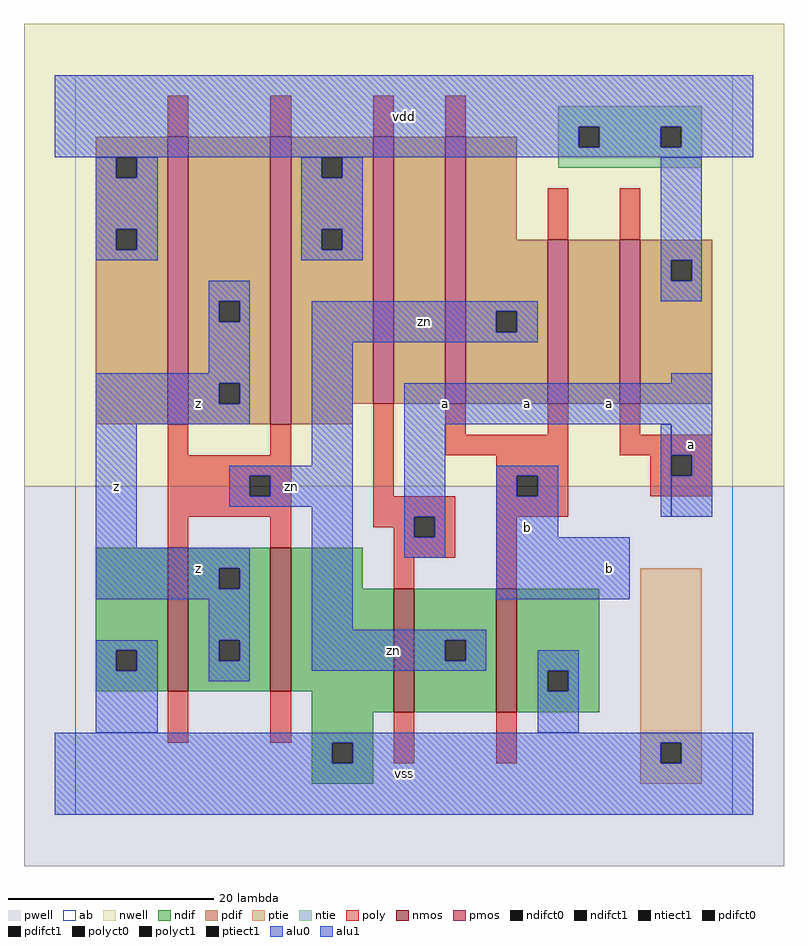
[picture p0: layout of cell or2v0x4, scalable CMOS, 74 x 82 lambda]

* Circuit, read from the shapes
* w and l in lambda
.subckt or2v0x4 a b vdd vss z zn
M1 z zn vss vss nfet w=14 l=2 m=2
M2 zn a vss vss nfet w=12 l=2
M3 vss b zn vss nfet w=12 l=2
M4 z zn vdd vdd pfet w=28 l=2 m=2
M5 n1 a vdd vdd pfet w=26 l=2
M6 zn b n1 vdd pfet w=26 l=2
M7 n2 b zn vdd pfet w=16 l=2
M8 vdd a n2 vdd pfet w=16 l=2
.ends

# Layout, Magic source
magic
tech scmos
<< ab >>
rect 0 0 64 72
<< nwell >>
rect -5 32 69 77
<< pwell >>
rect -5 -5 69 32
<< poly >>
rect 9 66 11 70
rect 19 66 21 70
rect 29 66 31 70
rect 36 66 38 70
rect 46 56 48 61
rect 53 56 55 61
rect 9 35 11 38
rect 19 35 21 38
rect 9 33 21 35
rect 9 31 17 33
rect 19 31 21 33
rect 9 29 21 31
rect 9 26 11 29
rect 19 26 21 29
rect 29 31 31 40
rect 36 37 38 40
rect 46 37 48 40
rect 36 35 48 37
rect 53 37 55 40
rect 53 35 62 37
rect 41 33 48 35
rect 41 31 43 33
rect 45 31 48 33
rect 56 33 58 35
rect 60 33 62 35
rect 56 31 62 33
rect 29 29 37 31
rect 29 28 33 29
rect 31 27 33 28
rect 35 27 37 29
rect 31 25 37 27
rect 41 29 48 31
rect 31 22 33 25
rect 41 22 43 29
rect 9 7 11 12
rect 19 7 21 12
rect 31 5 33 10
rect 41 5 43 10
<< ndif >>
rect 2 16 9 26
rect 2 14 4 16
rect 6 14 9 16
rect 2 12 9 14
rect 11 24 19 26
rect 11 22 14 24
rect 16 22 19 24
rect 11 17 19 22
rect 11 15 14 17
rect 16 15 19 17
rect 11 12 19 15
rect 21 22 28 26
rect 21 12 31 22
rect 23 10 31 12
rect 33 17 41 22
rect 33 15 36 17
rect 38 15 41 17
rect 33 10 41 15
rect 43 14 51 22
rect 43 12 46 14
rect 48 12 51 14
rect 43 10 51 12
rect 23 7 29 10
rect 23 5 25 7
rect 27 5 29 7
rect 23 3 29 5
<< pdif >>
rect 2 64 9 66
rect 2 62 4 64
rect 6 62 9 64
rect 2 57 9 62
rect 2 55 4 57
rect 6 55 9 57
rect 2 38 9 55
rect 11 50 19 66
rect 11 48 14 50
rect 16 48 19 50
rect 11 42 19 48
rect 11 40 14 42
rect 16 40 19 42
rect 11 38 19 40
rect 21 64 29 66
rect 21 62 24 64
rect 26 62 29 64
rect 21 57 29 62
rect 21 55 24 57
rect 26 55 29 57
rect 21 40 29 55
rect 31 40 36 66
rect 38 56 43 66
rect 38 49 46 56
rect 38 47 41 49
rect 43 47 46 49
rect 38 40 46 47
rect 48 40 53 56
rect 55 54 62 56
rect 55 52 58 54
rect 60 52 62 54
rect 55 40 62 52
rect 21 38 27 40
<< alu1 >>
rect -2 67 66 72
rect -2 65 49 67
rect 51 65 57 67
rect 59 65 66 67
rect -2 64 66 65
rect 13 50 17 52
rect 13 48 14 50
rect 16 48 17 50
rect 13 43 17 48
rect 2 42 17 43
rect 2 40 14 42
rect 16 40 17 42
rect 2 38 17 40
rect 2 26 6 38
rect 58 42 62 43
rect 2 24 17 26
rect 2 22 14 24
rect 16 22 17 24
rect 2 21 17 22
rect 13 17 17 21
rect 13 15 14 17
rect 16 15 17 17
rect 13 13 17 15
rect 32 38 62 42
rect 32 29 36 38
rect 32 27 33 29
rect 35 27 36 29
rect 32 25 36 27
rect 41 33 47 34
rect 41 31 43 33
rect 45 31 47 33
rect 41 27 47 31
rect 58 35 62 38
rect 60 33 62 35
rect 58 29 62 33
rect 41 21 54 27
rect -2 7 66 8
rect -2 5 25 7
rect 27 5 57 7
rect 59 5 66 7
rect -2 0 66 5
<< ptie >>
rect 55 7 61 24
rect 55 5 57 7
rect 59 5 61 7
rect 55 3 61 5
<< ntie >>
rect 47 67 61 69
rect 47 65 49 67
rect 51 65 57 67
rect 59 65 61 67
rect 47 63 61 65
<< nmos >>
rect 9 12 11 26
rect 19 12 21 26
rect 31 10 33 22
rect 41 10 43 22
<< pmos >>
rect 9 38 11 66
rect 19 38 21 66
rect 29 40 31 66
rect 36 40 38 66
rect 46 40 48 56
rect 53 40 55 56
<< polyct0 >>
rect 17 31 19 33
<< polyct1 >>
rect 43 31 45 33
rect 58 33 60 35
rect 33 27 35 29
<< ndifct0 >>
rect 4 14 6 16
rect 36 15 38 17
rect 46 12 48 14
<< ndifct1 >>
rect 14 22 16 24
rect 14 15 16 17
rect 25 5 27 7
<< ntiect1 >>
rect 49 65 51 67
rect 57 65 59 67
<< ptiect1 >>
rect 57 5 59 7
<< pdifct0 >>
rect 4 62 6 64
rect 4 55 6 57
rect 24 62 26 64
rect 24 55 26 57
rect 41 47 43 49
rect 58 52 60 54
<< pdifct1 >>
rect 14 48 16 50
rect 14 40 16 42
<< alu0 >>
rect 2 62 4 64
rect 6 62 8 64
rect 2 57 8 62
rect 2 55 4 57
rect 6 55 8 57
rect 2 54 8 55
rect 22 62 24 64
rect 26 62 28 64
rect 22 57 28 62
rect 22 55 24 57
rect 26 55 28 57
rect 22 54 28 55
rect 57 54 61 64
rect 57 52 58 54
rect 60 52 61 54
rect 57 50 61 52
rect 23 49 45 50
rect 23 47 41 49
rect 43 47 45 49
rect 23 46 45 47
rect 23 34 27 46
rect 15 33 27 34
rect 15 31 17 33
rect 19 31 27 33
rect 15 30 27 31
rect 2 16 8 17
rect 2 14 4 16
rect 6 14 8 16
rect 2 8 8 14
rect 23 18 27 30
rect 57 29 58 38
rect 23 17 40 18
rect 23 15 36 17
rect 38 15 40 17
rect 23 14 40 15
rect 45 14 49 16
rect 45 12 46 14
rect 48 12 49 14
rect 45 8 49 12
<< labels >>
rlabel alu0 31 16 31 16 6 zn
rlabel alu0 21 32 21 32 6 zn
rlabel alu0 34 48 34 48 6 zn
rlabel alu1 4 32 4 32 6 z
rlabel alu1 12 24 12 24 6 z
rlabel alu1 12 40 12 40 6 z
rlabel alu1 32 4 32 4 6 vss
rlabel alu1 44 28 44 28 6 b
rlabel alu1 44 40 44 40 6 a
rlabel alu1 36 40 36 40 6 a
rlabel alu1 32 68 32 68 6 vdd
rlabel alu1 52 24 52 24 6 b
rlabel alu1 60 36 60 36 6 a
rlabel alu1 52 40 52 40 6 a
<< end >>
